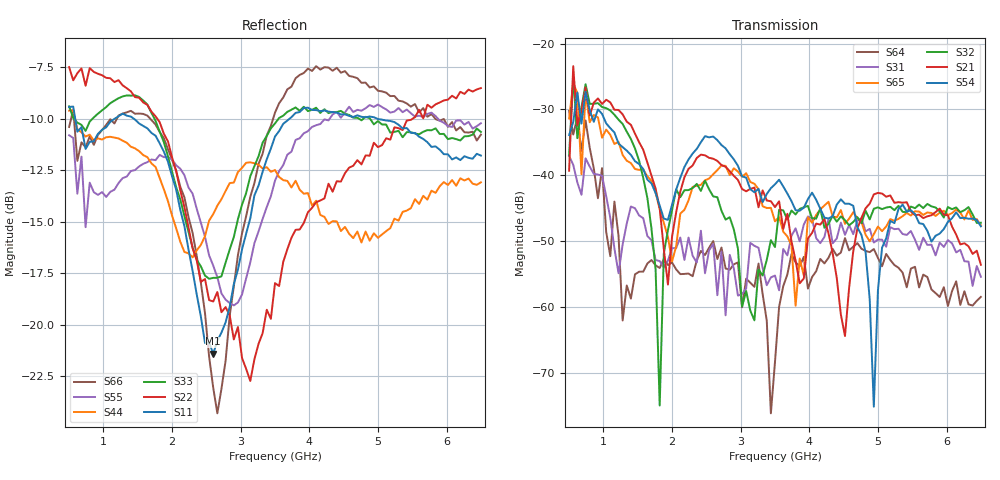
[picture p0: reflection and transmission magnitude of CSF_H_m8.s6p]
!Keysight Technologies,M9804A,MY58100912,A.14.10.03
!Date: Thursday, April 27, 2023 10:28:33
!Correction: S11(C  6-Port  )
!S12(C  6-Port  )
!S13(C  6-Port  )
!S14(C  6-Port  )
!S15(C  6-Port  )
!S16(C  6-Port  )
!S21(C  6-Port  )
!S22(C  6-Port  )
!S23(C  6-Port  )
!S24(C  6-Port  )
!S25(C  6-Port  )
!S26(C  6-Port  )
!S31(C  6-Port  )
!S32(C  6-Port  )
!S33(C  6-Port  )
!S34(C  6-Port  )
!S35(C  6-Port  )
!S36(C  6-Port  )
!S41(C  6-Port  )
!S42(C  6-Port  )
!S43(C  6-Port  )
!S44(C  6-Port  )
!S45(C  6-Port  )
!S46(C  6-Port  )
!S51(C  6-Port  )
!S52(C  6-Port  )
!S53(C  6-Port  )
!S54(C  6-Port  )
!S55(C  6-Port  )
!S56(C  6-Port  )
!S61(C  6-Port  )
!S62(C  6-Port  )
!S63(C  6-Port  )
!S64(C  6-Port  )
!S65(C  6-Port  )
!S66(C  6-Port  )
!S6P File: Measurement: :
# Hz S  RI  R 50
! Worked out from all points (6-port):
!   101 points, 500 MHz to 6.5 GHz, reference 50 ohm
!   strongest paths, dB at 500 MHz, 2 GHz, 3.5 GHz, 5 GHz, 6.5 GHz:
!     S54: -33.9, -44.5, -41.4, -57.5, -47.8
!     S21: -39.3, -49.3, -44.8, -42.7, -53.6
!     S32: -36.9, -45.3, -50.9, -44.9, -47.2
!     S65: -31.4, -53.1, -47.0, -47.8, -47.6
!     S31: -37.1, -51.1, -55.2, -49.8, -55.4
!     S64: -30.2, -53.3, -68.4, -52.6, -58.5
!   lowest |S11| = -21.4 dB at 2.6 GHz (marker M1), VSWR 1.19, Z = 42.4 + j2.2 ohm
!   |S11| at or under -10 dB: 588.7 MHz to 1.165 GHz (576.8 MHz wide, 65.8 % of centre); 1.44 GHz to 3.714 GHz (2.273 GHz wide, 88.2 % of centre); 4.987 GHz to end of sweep
